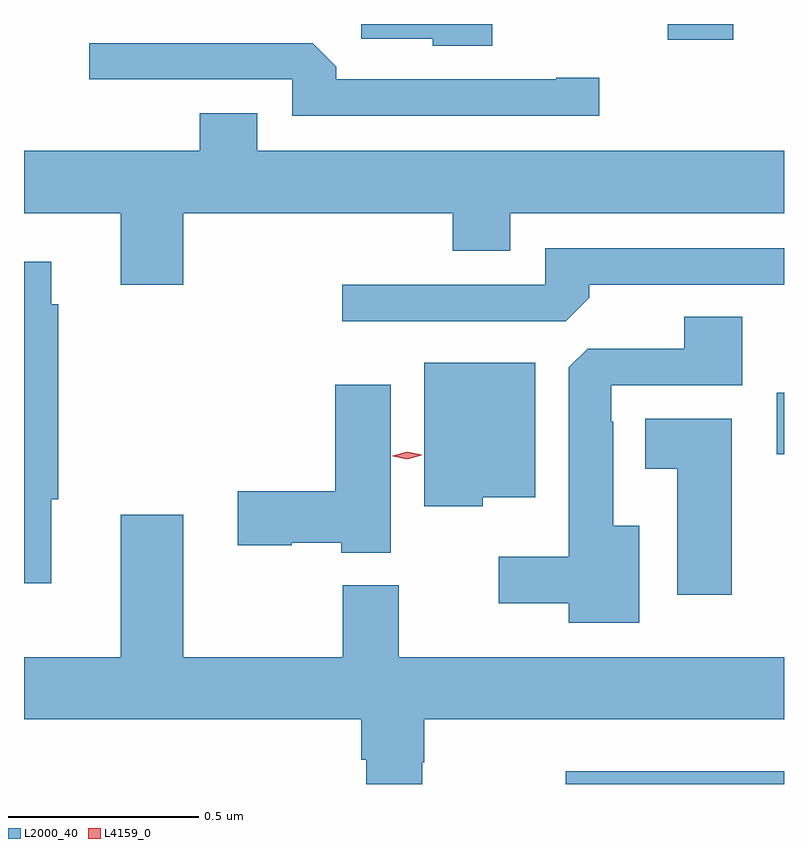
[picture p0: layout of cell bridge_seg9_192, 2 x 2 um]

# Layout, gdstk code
import gdstk
lib = gdstk.Library(unit=1e-6, precision=1e-09)
def R(c, l, rs):  # rectangles x0, y0, x1, y1
    for r in rs: c.add(gdstk.rectangle(r[:2], r[2:], *l))
def P(c, l, *ps):  # polygons
    for p in ps: c.add(gdstk.Polygon(p, *l))
L2000_40 = (2000, 40)
L4159_0 = (4159, 0)

bridge_seg9_192 = lib.new_cell('bridge_seg9_192')
R(bridge_seg9_192, L2000_40, [(214.131,1201.578,214.705,1201.612), (214.686,1202.446,214.705,1202.608), (214.399,1203.537,214.572,1203.578)])
P(bridge_seg9_192, L2000_40, [(213.937,1203.578),(213.593,1203.578),(213.593,1203.539),(213.78,1203.539),(213.78,1203.521),(213.937,1203.521)],
  [(214.219,1203.437),(214.106,1203.437),(214.106,1203.432),(213.527,1203.432),(213.527,1203.466),(213.465,1203.528),(212.877,1203.528),(212.877,1203.432),(213.411,1203.432),(213.411,1203.336),(214.219,1203.336)],
  [(213.124,1203.08),(213.833,1203.08),(213.833,1202.981),(213.985,1202.981),(213.985,1203.08),(214.705,1203.08),(214.705,1203.244),(213.319,1203.244),(213.319,1203.343),(213.167,1203.343),(213.167,1203.244),(212.705,1203.244),(212.705,1203.08),(212.96,1203.08),(212.96,1202.892),(213.124,1202.892)],
  [(214.193,1202.858),(214.193,1202.892),(214.705,1202.892),(214.705,1202.988),(214.077,1202.988),(214.077,1202.892),(213.543,1202.892),(213.543,1202.796),(214.131,1202.796)],
  [(212.777,1202.328),(212.795,1202.328),(212.795,1202.84),(212.777,1202.84),(212.777,1202.953),(212.705,1202.953),(212.705,1202.106),(212.777,1202.106)],
  [(214.324,1202.257),(214.255,1202.257),(214.255,1202.531),(214.251,1202.531),(214.251,1202.628),(214.595,1202.628),(214.595,1202.807),(214.442,1202.807),(214.442,1202.724),(214.188,1202.724),(214.139,1202.675),(214.139,1202.176),(213.954,1202.176),(213.954,1202.054),(214.139,1202.054),(214.139,1202.003),(214.324,1202.003)],
  [(213.912,1202.333),(214.051,1202.333),(214.051,1202.686),(213.758,1202.686),(213.758,1202.309),(213.912,1202.309)],
  [(213.67,1202.629),(213.524,1202.629),(213.524,1202.348),(213.267,1202.348),(213.267,1202.206),(213.41,1202.206),(213.41,1202.213),(213.54,1202.213),(213.54,1202.186),(213.67,1202.186)],
  [(214.567,1202.539),(214.34,1202.539),(214.34,1202.408),(214.424,1202.408),(214.424,1202.076),(214.567,1202.076)],
  [(213.753,1201.635),(213.758,1201.635),(213.758,1201.748),(214.705,1201.748),(214.705,1201.912),(213.691,1201.912),(213.691,1202.101),(213.544,1202.101),(213.544,1201.912),(213.124,1201.912),(213.124,1202.287),(212.96,1202.287),(212.96,1201.912),(212.705,1201.912),(212.705,1201.748),(213.593,1201.748),(213.593,1201.642),(213.605,1201.642),(213.605,1201.578),(213.753,1201.578)])
P(bridge_seg9_192, L4159_0, [(213.713,1202.433),(213.675,1202.441),(213.674,1202.442),(213.675,1202.442),(213.713,1202.453),(213.752,1202.444),(213.752,1202.444),(213.752,1202.443)])

lib.write_gds('bridge_seg9_192.gds')
